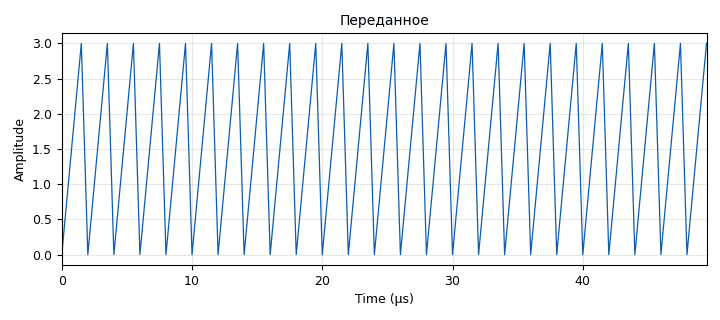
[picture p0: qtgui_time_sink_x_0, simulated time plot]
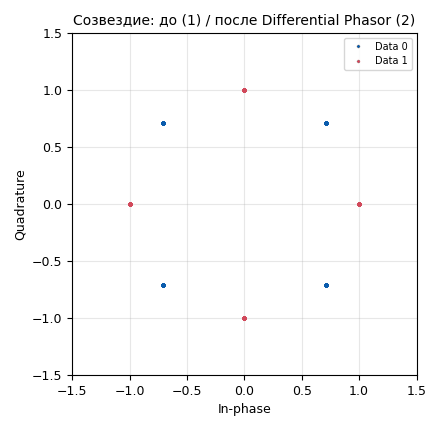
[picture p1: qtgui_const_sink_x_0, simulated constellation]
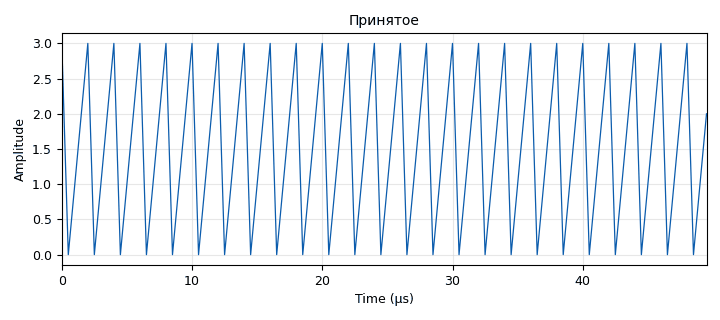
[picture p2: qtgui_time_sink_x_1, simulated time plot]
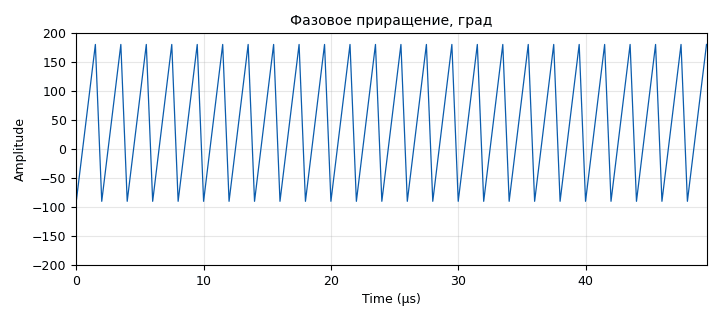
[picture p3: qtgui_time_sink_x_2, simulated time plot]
options:
  parameters:
    author: Lab5
    generate_options: qt_gui
    id: lab5_1_9_3_dqpsk_phase
    output_language: python
    title: 'ЛР5 п.1.9.3  DQPSK: вывод фазового приращения'
  states: {}

blocks:
- name: samp_rate
  id: variable
  parameters:
    value: 2e6
  states: {}
- name: src
  id: blocks_vector_source_x
  parameters:
    vector: (0, 1, 2, 3)
    repeat: 'True'
    type: byte
  states: {}
- name: blocks_throttle2_0
  id: blocks_throttle2
  parameters:
    samples_per_second: samp_rate
    type: byte
  states: {}
- name: blocks_uchar_to_float_0
  id: blocks_uchar_to_float
  parameters: {}
  states: {}
- name: qtgui_time_sink_x_0
  id: qtgui_time_sink_x
  parameters:
    type: float
    name: '"Переданное"'
    size: '100'
    srate: samp_rate
    grid: 'True'
    autoscale: 'True'
    ymax: '4'
    tr_slope: qtgui.TRIG_MODE_POS
  states: {}
- name: diff_enc
  id: digital_diff_encoder_bb
  parameters:
    coding: digital.DIFF_DIFFERENTIAL
    modulus: '4'
  states: {}
- name: chunks2sym
  id: digital_chunks_to_symbols_xx
  parameters:
    dimension: '1'
    in_type: byte
    out_type: complex
    symbol_table: '[0.707+0.707j, -0.707+0.707j, -0.707-0.707j, 0.707-0.707j]'
  states: {}
- name: n
  id: variable_qtgui_range
  parameters:
    value: '0'
    start: '0'
    stop: '1000'
    step: '1'
    label: '"Noise Voltage, мВ"'
  states: {}
- name: f
  id: variable_qtgui_range
  parameters:
    value: '0'
    start: '-10000.0'
    stop: '10000.0'
    step: '10'
    label: '"Расстройка частоты, Гц"'
  states: {}
- name: channel
  id: channels_channel_model
  parameters:
    noise_voltage: n*1e-3
    freq_offset: f/samp_rate
    epsilon: '1.0'
    taps: '1.0'
    seed: '0'
  states: {}
- name: vsink
  id: virtual_sink
  parameters:
    stream_id: dqpsk
  states: {}
- name: vsrc
  id: virtual_source
  parameters:
    stream_id: dqpsk
  states: {}
- name: diffphasor
  id: digital_diff_phasor_cc
  parameters: {}
  states: {}
- name: qtgui_const_sink_x_0
  id: qtgui_const_sink_x
  parameters:
    type: complex
    name: '"Созвездие: до (1) / после Differential Phasor (2)"'
    size: '1024'
    grid: 'True'
    ymin: '-1.5'
    ymax: '1.5'
    xmin: '-1.5'
    xmax: '1.5'
    nconnections: '2'
    tr_slope: qtgui.TRIG_MODE_POS
  states: {}
- name: dqpsk
  id: variable_constellation
  parameters:
    sym_map: '[0, 1, 2, 3]'
    const_points: '[1, 1j, -1, -1j]'
    rot_sym: '4'
    dims: '1'
    normalization: digital.constellation.AMPLITUDE_NORMALIZATION
    precision: '8'
    type: calcdist
  states: {}
- name: decoder
  id: digital_constellation_decoder_cb
  parameters:
    constellation: dqpsk
  states: {}
- name: blocks_uchar_to_float_1
  id: blocks_uchar_to_float
  parameters: {}
  states: {}
- name: qtgui_time_sink_x_1
  id: qtgui_time_sink_x
  parameters:
    type: float
    name: '"Принятое"'
    size: '100'
    srate: samp_rate
    grid: 'True'
    autoscale: 'True'
    ymax: '4'
    tr_slope: qtgui.TRIG_MODE_POS
  states: {}
- name: c2arg
  id: blocks_complex_to_arg
  parameters: {}
  states: {}
- name: rad2deg
  id: blocks_multiply_const_vxx
  parameters:
    const: '57.2958'
    type: float
  states: {}
- name: qtgui_time_sink_x_2
  id: qtgui_time_sink_x
  parameters:
    type: float
    name: '"Фазовое приращение, град"'
    size: '100'
    srate: samp_rate
    grid: 'True'
    ymin: '-200'
    ymax: '200'
    tr_slope: qtgui.TRIG_MODE_POS
  states: {}

connections:
- [src, '0', blocks_throttle2_0, '0']
- [blocks_throttle2_0, '0', blocks_uchar_to_float_0, '0']
- [blocks_uchar_to_float_0, '0', qtgui_time_sink_x_0, '0']
- [blocks_throttle2_0, '0', diff_enc, '0']
- [diff_enc, '0', chunks2sym, '0']
- [chunks2sym, '0', channel, '0']
- [channel, '0', vsink, '0']
- [vsrc, '0', diffphasor, '0']
- [vsrc, '0', qtgui_const_sink_x_0, '0']
- [diffphasor, '0', qtgui_const_sink_x_0, '1']
- [diffphasor, '0', decoder, '0']
- [decoder, '0', blocks_uchar_to_float_1, '0']
- [blocks_uchar_to_float_1, '0', qtgui_time_sink_x_1, '0']
- [diffphasor, '0', c2arg, '0']
- [c2arg, '0', rad2deg, '0']
- [rad2deg, '0', qtgui_time_sink_x_2, '0']

metadata:
  file_format: 1
  grc_version: 3.10.12.0
